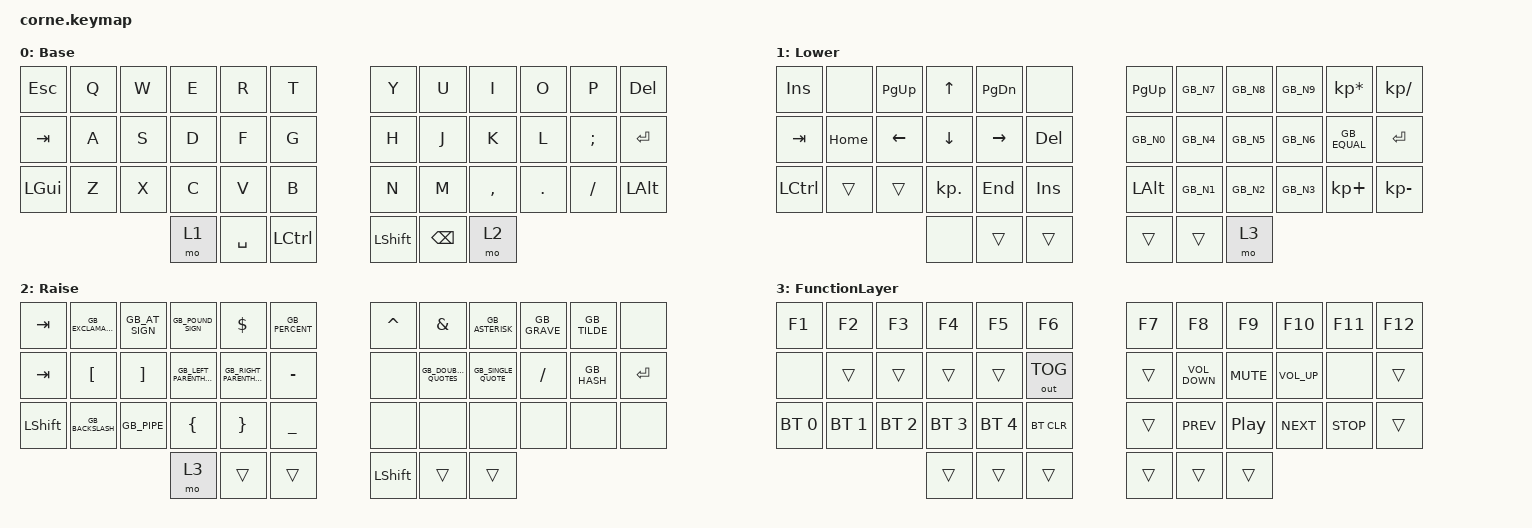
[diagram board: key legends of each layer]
/*
 * Copyright (c) 2020 The ZMK Contributors
 *
 * SPDX-License-Identifier: MIT
 */

#include "keys_en_gb.h"
#include <behaviors.dtsi>
#include <dt-bindings/zmk/bt.h>
#include <dt-bindings/zmk/keys.h>
#include <dt-bindings/zmk/outputs.h>

/ {
    keymap {
        compatible = "zmk,keymap";

        default_layer {
            // -----------------------------------------------------------------------------------------
            // |  TAB |  Q  |  W  |  E  |  R  |  T  |   |  Y  |  U   |  I  |  O  |  P  | BKSP |
            // | CTRL |  A  |  S  |  D  |  F  |  G  |   |  H  |  J   |  K  |  L  |  ;  |  '   |
            // | SHFT |  Z  |  X  |  C  |  V  |  B  |   |  N  |  M   |  ,  |  .  |  /  | ESC  |
            //                    | GUI | LWR | SPC |   | ENT | RSE  | ALT |

            label = "Base";
            bindings = <
&kp ESCAPE    &kp Q  &kp W  &kp E  &kp R      &kp T        &kp Y       &kp U          &kp I      &kp O    &kp P     &kp DELETE
&kp TAB       &kp A  &kp S  &kp D  &kp F      &kp G        &kp H       &kp J          &kp K      &kp L    &kp SEMI  &kp ENTER
&kp LEFT_GUI  &kp Z  &kp X  &kp C  &kp V      &kp B        &kp N       &kp M          &kp COMMA  &kp DOT  &kp FSLH  &kp LEFT_ALT
                            &mo 1  &kp SPACE  &kp LCTRL    &kp LSHIFT  &kp BACKSPACE  &mo 2
            >;
        };

        lower_layer {
            // -----------------------------------------------------------------------------------------
            // |  TAB |  1  |  2  |  3  |  4  |  5  |   |  6  |  7  |  8  |  9  |  0  | BKSP |
            // | BTCLR| BT1 | BT2 | BT3 | BT4 | BT5 |   | LFT | DWN |  UP | RGT |     |      |
            // | SHFT |     |     |     |     |     |   |     |     |     |     |     |      |
            //                    | GUI |     | SPC |   | ENT |     | ALT |

            label = "Lower";
            bindings = <
&kp INSERT  &none     &kp PAGE_UP     &kp UP_ARROW  &kp PAGE_DOWN    &none         &kp PAGE_UP   &kp GB_N7  &kp GB_N8  &kp GB_N9  &kp KP_MULTIPLY  &kp KP_DIVIDE
&kp TAB     &kp HOME  &kp LEFT_ARROW  &kp DOWN      &kp RIGHT_ARROW  &kp DELETE    &kp GB_N0     &kp GB_N4  &kp GB_N5  &kp GB_N6  &kp GB_EQUAL     &kp ENTER
&kp LCTRL   &trans    &trans          &kp KP_DOT    &kp END          &kp INSERT    &kp LEFT_ALT  &kp GB_N1  &kp GB_N2  &kp GB_N3  &kp KP_PLUS      &kp KP_SUBTRACT
                                      &none         &trans           &trans        &trans        &trans     &mo 3
            >;
        };

        raise_layer {
            // -----------------------------------------------------------------------------------------
            // |  TAB |  !  |  @  |  #  |  $  |  %  |   |  ^  |  &  |  *  |  (  |  )  | BKSP |
            // | CTRL |     |     |     |     |     |   |  -  |  =  |  [  |  ]  |  \  |  `   |
            // | SHFT |     |     |     |     |     |   |  _  |  +  |  {  |  }  | "|" |  ~   |
            //                    | GUI |     | SPC |   | ENT |     | ALT |

            label = "Raise";
            bindings = <
&kp TAB    &kp GB_EXCLAMATION  &kp GB_AT_SIGN     &kp GB_POUND_SIGN        &kp DLLR                  &kp GB_PERCENT    &kp CARET       &kp AMPS              &kp GB_ASTERISK      &kp GB_GRAVE  &kp GB_TILDE  &none
&kp TAB    &kp LEFT_BRACKET    &kp RIGHT_BRACKET  &kp GB_LEFT_PARENTHESIS  &kp GB_RIGHT_PARENTHESIS  &kp MINUS         &none           &kp GB_DOUBLE_QUOTES  &kp GB_SINGLE_QUOTE  &kp SLASH     &kp GB_HASH   &kp ENTER
&kp LSHFT  &kp GB_BACKSLASH    &kp GB_PIPE        &kp LEFT_BRACE           &kp RIGHT_BRACE           &kp UNDER         &none           &none                 &none                &none         &none         &none
                                                  &mo 3                    &trans                    &trans            &kp LEFT_SHIFT  &trans                &trans
            >;
        };

        FunctionLayer {
            bindings = <
&kp F1        &kp F2        &kp F3        &kp F4        &kp F5        &kp F6          &kp F7  &kp F8             &kp F9      &kp F10          &kp F11     &kp F12
&none         &trans        &trans        &trans        &trans        &out OUT_TOG    &trans  &kp C_VOLUME_DOWN  &kp C_MUTE  &kp C_VOLUME_UP  &none       &trans
&bt BT_SEL 0  &bt BT_SEL 1  &bt BT_SEL 2  &bt BT_SEL 3  &bt BT_SEL 4  &bt BT_CLR      &trans  &kp C_PREV         &kp C_PP    &kp C_NEXT       &kp C_STOP  &trans
                                          &trans        &trans        &trans          &trans  &trans             &trans
            >;
        };
    };
};
